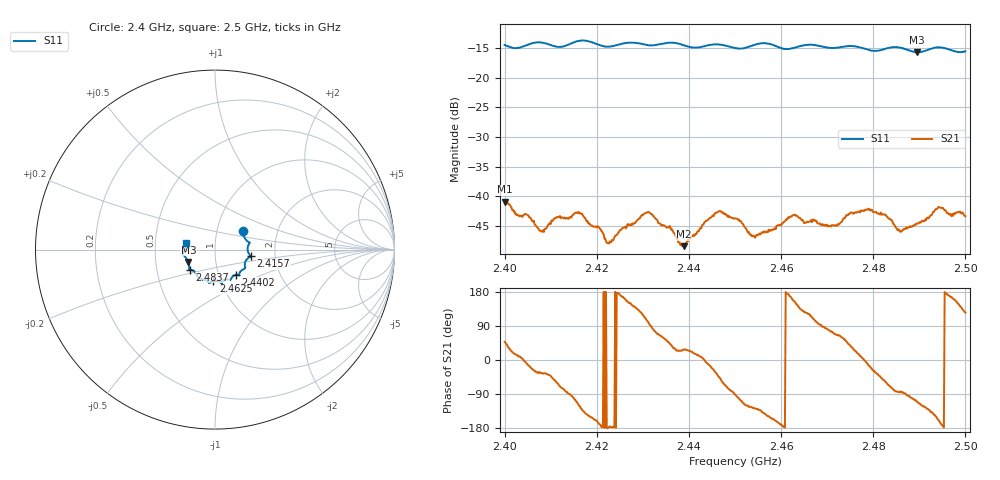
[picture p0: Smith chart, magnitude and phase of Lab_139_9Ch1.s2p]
# Hz S RI R 50
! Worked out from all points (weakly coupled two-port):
!   601 points, 2.4 GHz to 2.5 GHz, reference 50 ohm
!   highest |S21| = -40.93 dB at 2.4 GHz (marker M1); lowest = -48.4 dB at 2.4388 GHz (marker M2)
!   lowest |S11| = -15.7 dB at 2.4895 GHz (marker M3), VSWR 1.39, Z = 36.8 - j5.15 ohm
!   |S11| at or under -10 dB: start of sweep to end of sweep
!   S12 and S22 are empty: the file has one direction only
!   S11 on the Smith chart (normalised r, x): 2.4 GHz: 1.33, +0.29; 2.4157 GHz: 1.49, -0.11; 2.4402 GHz: 1.20, -0.35; 2.4625 GHz: 0.92, -0.34; 2.4837 GHz: 0.74, -0.17; 2.5 GHz: 0.72, +0.05
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2.4e9  0.1561 0.1055  0.00605 0.00665  0 0  0 0
2.408e9  0.194 0.0379  0.0042 -0.0028  0 0  0 0
2.415667e9  0.1989 -0.0364  -0.00257 -0.00684  0 0  0 0
2.416667e9  0.2016 -0.04  -0.00439 -0.00555  0 0  0 0
2.422667e9  0.1679 -0.0711  -0.00399 -0.000228  0 0  0 0
2.430667e9  0.1499 -0.1152  -0.00222 0.00688  0 0  0 0
2.433333e9  0.1355 -0.1336  0.00214 0.00555  0 0  0 0
2.438833e9  0.1251 -0.1401  0.00336 0.00176  0 0  0 0
2.440167e9  0.1143 -0.1406  0.00397 0.00183  0 0  0 0
2.446167e9  0.085 -0.1707  0.00571 -0.00458  0 0  0 0
2.45e9  0.0639 -0.1658  -0.000131 -0.00651  0 0  0 0
2.454167e9  0.0374 -0.1849  -0.00277 -0.00368  0 0  0 0
2.4625e9  -0.00976 -0.1765  -0.00641 0.00248  0 0  0 0
2.466667e9  -0.033 -0.1864  -0.00238 0.00554  0 0  0 0
2.472e9  -0.0677 -0.165  0.00219 0.00515  0 0  0 0
2.478833e9  -0.1036 -0.1374  0.00756 -0.00155  0 0  0 0
2.483333e9  -0.1383 -0.112  0.00263 -0.00592  0 0  0 0
2.483667e9  -0.1402 -0.1116  0.0022 -0.00607  0 0  0 0
2.485833e9  -0.1447 -0.1057  0.000634 -0.00499  0 0  0 0
2.4895e9  -0.1485 -0.0682  -0.00196 -0.00556  0 0  0 0
2.494167e9  -0.1783 -0.025  -0.00756 -0.00301  0 0  0 0
2.5e9  -0.1628 0.0363  -0.00389 0.00557  0 0  0 0
